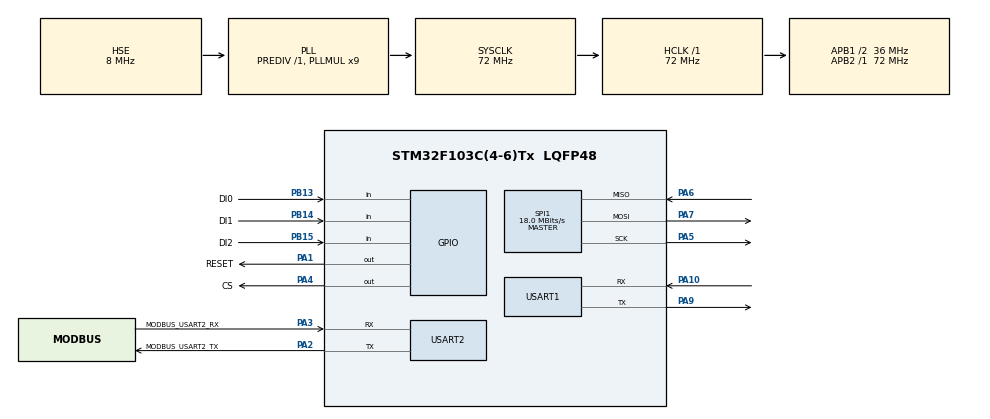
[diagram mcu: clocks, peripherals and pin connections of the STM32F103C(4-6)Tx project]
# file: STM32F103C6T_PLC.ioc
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Mcu.Family=STM32F1
Mcu.Name=STM32F103C(4-6)Tx
Mcu.Package=LQFP48
NVIC.PriorityGroup=NVIC_PRIORITYGROUP_4
PA1.GPIO_Label=RESET
PA1.GPIO_Speed=GPIO_SPEED_FREQ_HIGH
PA1.PinState=GPIO_PIN_SET
PA1.Signal=GPIO_Output
PA10.Mode=Asynchronous
PA10.Signal=USART1_RX
PA13.Mode=Serial_Wire
PA13.Signal=SYS_JTMS-SWDIO
PA14.Mode=Serial_Wire
PA14.Signal=SYS_JTCK-SWCLK
PA2.GPIO_Label=MODBUS_USART2_TX
PA2.Mode=Asynchronous
PA2.Signal=USART2_TX
PA3.GPIO_Label=MODBUS_USART2_RX
PA3.Mode=Asynchronous
PA3.Signal=USART2_RX
PA4.GPIO_Label=CS
PA4.GPIO_Speed=GPIO_SPEED_FREQ_HIGH
PA4.PinState=GPIO_PIN_SET
PA4.Signal=GPIO_Output
PA5.Mode=Full_Duplex_Master
PA5.Signal=SPI1_SCK
PA6.Mode=Full_Duplex_Master
PA6.Signal=SPI1_MISO
PA7.Mode=Full_Duplex_Master
PA7.Signal=SPI1_MOSI
PA9.Mode=Asynchronous
PA9.Signal=USART1_TX
PB13.GPIO_Label=DI0
PB13.Signal=GPIO_Input
PB14.GPIO_Label=DI1
PB14.Signal=GPIO_Input
PB15.GPIO_Label=DI2
PB15.Signal=GPIO_Input
PD0-OSC_IN.Mode=HSE-External-Oscillator
PD0-OSC_IN.Signal=RCC_OSC_IN
PD1-OSC_OUT.Mode=HSE-External-Oscillator
PD1-OSC_OUT.Signal=RCC_OSC_OUT
ProjectManager.HeapSize=0x200
ProjectManager.StackSize=0x400
ProjectManager.TargetToolchain=STM32CubeIDE
RCC.AHBFreq_Value=72000000
RCC.APB1CLKDivider=RCC_HCLK_DIV2
RCC.APB1Freq_Value=36000000
RCC.APB1TimFreq_Value=72000000
RCC.APB2Freq_Value=72000000
RCC.APB2TimFreq_Value=72000000
RCC.HCLKFreq_Value=72000000
RCC.PLLMUL=RCC_PLL_MUL9
RCC.PLLSourceVirtual=RCC_PLLSOURCE_HSE
RCC.RTCClockSelection=RCC_RTCCLKSOURCE_HSE_DIV128
RCC.SYSCLKFreq_VALUE=72000000
RCC.SYSCLKSource=RCC_SYSCLKSOURCE_PLLCLK
RCC.USBFreq_Value=72000000
SPI1.BaudRatePrescaler=SPI_BAUDRATEPRESCALER_4
SPI1.CalculateBaudRate=18.0 MBits/s
SPI1.Direction=SPI_DIRECTION_2LINES
SPI1.Mode=SPI_MODE_MASTER
SPI1.VirtualType=VM_MASTER
USART1.VirtualMode=VM_ASYNC
USART2.VirtualMode=VM_ASYNC
VP_RTC_VS_RTC_Activate.Mode=RTC_Enabled
board=custom

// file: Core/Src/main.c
/* USER CODE BEGIN Header */
/**
  ******************************************************************************
  * @file           : main.c
  * @brief          : Main program body
  ******************************************************************************
  * @attention
  *
  * Copyright (c) 2026 STMicroelectronics.
  * All rights reserved.
  *
  * This software is licensed under terms that can be found in the LICENSE file
  * in the root directory of this software component.
  * If no LICENSE file comes with this software, it is provided AS-IS.
  *
  ******************************************************************************
  */
/* USER CODE END Header */
#include "main.h"

/* USER CODE BEGIN Includes */
#include <stdio.h>
#include "wizchip_port.h"
#include "door_sensor.h"
#include "http_client.h"
/* USER CODE END Includes */

RTC_HandleTypeDef hrtc;

SPI_HandleTypeDef hspi1;

UART_HandleTypeDef huart1;
UART_HandleTypeDef huart2;

/* USER CODE BEGIN PV */
static uint32_t last_door_send = 0;
/* USER CODE END PV */

void SystemClock_Config(void);
static void MX_GPIO_Init(void);
static void MX_RTC_Init(void);
static void MX_SPI1_Init(void);
static void MX_USART1_UART_Init(void);
static void MX_USART2_UART_Init(void);

/* USER CODE BEGIN 0 */
uint8_t buffer[1000];
/* USER CODE END 0 */

int main(void)
{

  /* MCU Configuration--------------------------------------------------------*/

  /* Reset of all peripherals, Initializes the Flash interface and the Systick. */
  HAL_Init();

  /* Configure the system clock */
  SystemClock_Config();

  /* Initialize all configured peripherals */
  MX_GPIO_Init();
  MX_RTC_Init();
  MX_SPI1_Init();
  MX_USART1_UART_Init();
  MX_USART2_UART_Init();
  /* USER CODE BEGIN 2 */
  if (W5500_Init() != 0)
	  Error_Handler();

  DoorSensor_Init();
  last_door_send = HAL_GetTick();
  printf("[main] ready\n");
  /* USER CODE END 2 */

  /* Infinite loop */
  while (1)
  {

    /* USER CODE BEGIN 3 */
    uint32_t now = HAL_GetTick();

    /* 1. Door sensor — EXTI sets flag, POST on state change with cooldown */
    if (DoorSensor_IsChanged()) {
        uint8_t st = DoorSensor_GetState();
        DoorSensor_ClearFlag();
        if ((now - last_door_send) >= DOOR_COOLDOWN_MS) {
            last_door_send = now;
            DoorSensor_Post(st);
        }
    }

    HAL_Delay(1);
  }
  /* USER CODE END 3 */
}

void SystemClock_Config(void)
{
  RCC_OscInitTypeDef RCC_OscInitStruct = {0};
  RCC_ClkInitTypeDef RCC_ClkInitStruct = {0};
  RCC_PeriphCLKInitTypeDef PeriphClkInit = {0};

  /** Initializes the RCC Oscillators according to the specified parameters
  * in the RCC_OscInitTypeDef structure.
  */
  RCC_OscInitStruct.OscillatorType = RCC_OSCILLATORTYPE_HSE;
  RCC_OscInitStruct.HSEState = RCC_HSE_ON;
  RCC_OscInitStruct.HSEPredivValue = RCC_HSE_PREDIV_DIV1;
  RCC_OscInitStruct.HSIState = RCC_HSI_ON;
  RCC_OscInitStruct.PLL.PLLState = RCC_PLL_ON;
  RCC_OscInitStruct.PLL.PLLSource = RCC_PLLSOURCE_HSE;
  RCC_OscInitStruct.PLL.PLLMUL = RCC_PLL_MUL9;
  if (HAL_RCC_OscConfig(&RCC_OscInitStruct) != HAL_OK)
  {
    Error_Handler();
  }

  /** Initializes the CPU, AHB and APB buses clocks
  */
  RCC_ClkInitStruct.ClockType = RCC_CLOCKTYPE_HCLK|RCC_CLOCKTYPE_SYSCLK
                              |RCC_CLOCKTYPE_PCLK1|RCC_CLOCKTYPE_PCLK2;
  RCC_ClkInitStruct.SYSCLKSource = RCC_SYSCLKSOURCE_PLLCLK;
  RCC_ClkInitStruct.AHBCLKDivider = RCC_SYSCLK_DIV1;
  RCC_ClkInitStruct.APB1CLKDivider = RCC_HCLK_DIV2;
  RCC_ClkInitStruct.APB2CLKDivider = RCC_HCLK_DIV1;

  if (HAL_RCC_ClockConfig(&RCC_ClkInitStruct, FLASH_LATENCY_2) != HAL_OK)
  {
    Error_Handler();
  }
  PeriphClkInit.PeriphClockSelection = RCC_PERIPHCLK_RTC;
  PeriphClkInit.RTCClockSelection = RCC_RTCCLKSOURCE_HSE_DIV128;
  if (HAL_RCCEx_PeriphCLKConfig(&PeriphClkInit) != HAL_OK)
  {
    Error_Handler();
  }
}

static void MX_RTC_Init(void)
{

  /** Initialize RTC Only
  */
  hrtc.Instance = RTC;
  hrtc.Init.AsynchPrediv = RTC_AUTO_1_SECOND;
  hrtc.Init.OutPut = RTC_OUTPUTSOURCE_ALARM;
  if (HAL_RTC_Init(&hrtc) != HAL_OK)
  {
    Error_Handler();
  }

}

static void MX_SPI1_Init(void)
{

  /* SPI1 parameter configuration*/
  hspi1.Instance = SPI1;
  hspi1.Init.Mode = SPI_MODE_MASTER;
  hspi1.Init.Direction = SPI_DIRECTION_2LINES;
  hspi1.Init.DataSize = SPI_DATASIZE_8BIT;
  hspi1.Init.CLKPolarity = SPI_POLARITY_LOW;
  hspi1.Init.CLKPhase = SPI_PHASE_1EDGE;
  hspi1.Init.NSS = SPI_NSS_SOFT;
  hspi1.Init.BaudRatePrescaler = SPI_BAUDRATEPRESCALER_4;
  hspi1.Init.FirstBit = SPI_FIRSTBIT_MSB;
  hspi1.Init.TIMode = SPI_TIMODE_DISABLE;
  hspi1.Init.CRCCalculation = SPI_CRCCALCULATION_DISABLE;
  hspi1.Init.CRCPolynomial = 10;
  if (HAL_SPI_Init(&hspi1) != HAL_OK)
  {
    Error_Handler();
  }

}

static void MX_USART1_UART_Init(void)
{

  huart1.Instance = USART1;
  huart1.Init.BaudRate = 115200;
  huart1.Init.WordLength = UART_WORDLENGTH_8B;
  huart1.Init.StopBits = UART_STOPBITS_1;
  huart1.Init.Parity = UART_PARITY_NONE;
  huart1.Init.Mode = UART_MODE_TX_RX;
  huart1.Init.HwFlowCtl = UART_HWCONTROL_NONE;
  huart1.Init.OverSampling = UART_OVERSAMPLING_16;
  if (HAL_UART_Init(&huart1) != HAL_OK)
  {
    Error_Handler();
  }

}

static void MX_USART2_UART_Init(void)
{

  huart2.Instance = USART2;
  huart2.Init.BaudRate = 115200;
  huart2.Init.WordLength = UART_WORDLENGTH_8B;
  huart2.Init.StopBits = UART_STOPBITS_1;
  huart2.Init.Parity = UART_PARITY_NONE;
  huart2.Init.Mode = UART_MODE_TX_RX;
  huart2.Init.HwFlowCtl = UART_HWCONTROL_NONE;
  huart2.Init.OverSampling = UART_OVERSAMPLING_16;
  if (HAL_UART_Init(&huart2) != HAL_OK)
  {
    Error_Handler();
  }

}

static void MX_GPIO_Init(void)
{
  GPIO_InitTypeDef GPIO_InitStruct = {0};

  /* GPIO Ports Clock Enable */
  __HAL_RCC_GPIOD_CLK_ENABLE();
  __HAL_RCC_GPIOA_CLK_ENABLE();
  __HAL_RCC_GPIOB_CLK_ENABLE();

  /*Configure GPIO pin Output Level */
  HAL_GPIO_WritePin(GPIOA, RESET_Pin|CS_Pin, GPIO_PIN_SET);

  /*Configure GPIO pins : RESET_Pin CS_Pin */
  GPIO_InitStruct.Pin = RESET_Pin|CS_Pin;
  GPIO_InitStruct.Mode = GPIO_MODE_OUTPUT_PP;
  GPIO_InitStruct.Pull = GPIO_NOPULL;
  GPIO_InitStruct.Speed = GPIO_SPEED_FREQ_HIGH;
  HAL_GPIO_Init(GPIOA, &GPIO_InitStruct);

  /*Configure GPIO pins : DI0_Pin DI1_Pin DI2_Pin */
  GPIO_InitStruct.Pin = DI0_Pin|DI1_Pin|DI2_Pin;
  GPIO_InitStruct.Mode = GPIO_MODE_INPUT;
  GPIO_InitStruct.Pull = GPIO_NOPULL;
  HAL_GPIO_Init(GPIOB, &GPIO_InitStruct);

}

void Error_Handler(void)
{
  __disable_irq();
  while (1)
  {
  }
}
